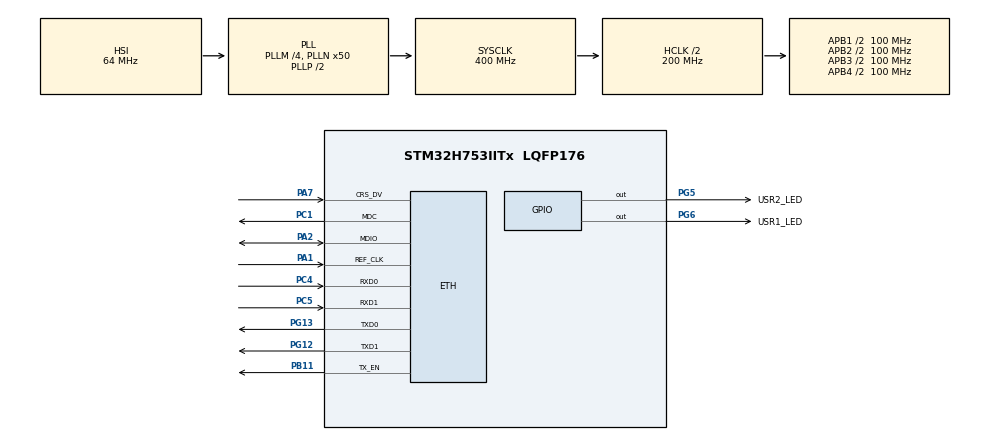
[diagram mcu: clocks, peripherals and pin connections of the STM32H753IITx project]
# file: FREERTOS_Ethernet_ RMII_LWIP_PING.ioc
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CORTEX_M7.AccessPermission_S-Cortex_Memory_Protection_Unit_Region1_Settings_S=MPU_REGION_FULL_ACCESS
CORTEX_M7.AccessPermission_S-Cortex_Memory_Protection_Unit_Region2_Settings_S=MPU_REGION_FULL_ACCESS
CORTEX_M7.AccessPermission_Spec=MPU_REGION_NO_ACCESS
CORTEX_M7.BaseAddress_S-Cortex_Memory_Protection_Unit_Region1_Settings_S=0x30020000
CORTEX_M7.BaseAddress_S-Cortex_Memory_Protection_Unit_Region2_Settings_S=0x30040000
CORTEX_M7.BaseAddress_Spec=0x0
CORTEX_M7.CPU_DCache=Enabled
CORTEX_M7.CPU_ICache=Enabled
CORTEX_M7.DisableExec_S-Cortex_Memory_Protection_Unit_Region1_Settings_S=MPU_INSTRUCTION_ACCESS_DISABLE
CORTEX_M7.DisableExec_S-Cortex_Memory_Protection_Unit_Region2_Settings_S=MPU_INSTRUCTION_ACCESS_DISABLE
CORTEX_M7.Enable_S-Cortex_Memory_Protection_Unit_Region1_Settings_S=MPU_REGION_ENABLE
CORTEX_M7.Enable_S-Cortex_Memory_Protection_Unit_Region2_Settings_S=MPU_REGION_ENABLE
CORTEX_M7.IsBufferable_S-Cortex_Memory_Protection_Unit_Region2_Settings_S=MPU_ACCESS_BUFFERABLE
CORTEX_M7.IsShareable_S-Cortex_Memory_Protection_Unit_Region2_Settings_S=MPU_ACCESS_SHAREABLE
CORTEX_M7.Size_S-Cortex_Memory_Protection_Unit_Region1_Settings_S=MPU_REGION_SIZE_128KB
CORTEX_M7.Size_S-Cortex_Memory_Protection_Unit_Region2_Settings_S=MPU_REGION_SIZE_512B
CORTEX_M7.Size_Spec=MPU_REGION_SIZE_4GB
CORTEX_M7.SubRegionDisable_Spec=0x87
CORTEX_M7.TypeExtField_S-Cortex_Memory_Protection_Unit_Region1_Settings_S=MPU_TEX_LEVEL1
CORTEX_M7.TypeExtField_Spec=MPU_TEX_LEVEL0
CORTEX_M7.default_mode_Activation=1
ETH.MediaInterface=HAL_ETH_RMII_MODE
FREERTOS.Tasks01=defaultTask,24,256,StartDefaultTask,Default,NULL,Dynamic,NULL,NULL
FREERTOS.configCHECK_FOR_STACK_OVERFLOW=2
FREERTOS.configTOTAL_HEAP_SIZE=65536
FREERTOS.configUSE_NEWLIB_REENTRANT=1
LWIP.BSP.number=1
LWIP.GATEWAY_ADDRESS=192.168.000.001
LWIP.IP_ADDRESS=192.168.000.123
LWIP.LWIP_DHCP=0
LWIP.LWIP_DNS=0
LWIP.LWIP_NETIF_EXT_STATUS_CALLBACK=0
LWIP.LWIP_NETIF_LINK_CALLBACK=1
LWIP.LWIP_NETIF_LOOPBACK=0
LWIP.LWIP_NETIF_STATUS_CALLBACK=0
LWIP.LWIP_RAM_HEAP_POINTER=0x30020000
LWIP.MEM_SIZE=16360
LWIP.NETMASK_ADDRESS=255.255.255.000
LWIP.Version=v2.1.2_Cube
LWIP0.BSP.STBoard=false
LWIP0.BSP.api=BSP_COMPONENT_DRIVER
LWIP0.BSP.component=LAN8742
LWIP0.BSP.instance=LAN8742
LWIP0.BSP.name=Driver_PHY
LWIP0.BSP.semaphore=S_LAN8742
LWIP0.BSP.solution=LAN8742
Mcu.Family=STM32H7
Mcu.Name=STM32H753IITx
Mcu.Package=LQFP176
NVIC.ETH_IRQn=true\:5\:0\:false\:false\:true\:true\:true\:true\:true
NVIC.PriorityGroup=NVIC_PRIORITYGROUP_4
NVIC.TIM5_IRQn=true\:15\:0\:false\:false\:true\:false\:false\:true\:true
NVIC.TimeBase=TIM5_IRQn
NVIC.TimeBaseIP=TIM5
PA1.GPIO_Speed=GPIO_SPEED_FREQ_VERY_HIGH
PA1.Mode=RMII
PA1.Signal=ETH_REF_CLK
PA2.GPIO_Speed=GPIO_SPEED_FREQ_VERY_HIGH
PA2.Mode=RMII
PA2.Signal=ETH_MDIO
PA7.GPIO_Speed=GPIO_SPEED_FREQ_VERY_HIGH
PA7.Mode=RMII
PA7.Signal=ETH_CRS_DV
PB11.GPIO_Speed=GPIO_SPEED_FREQ_VERY_HIGH
PB11.Mode=RMII
PB11.Signal=ETH_TX_EN
PC1.GPIO_Speed=GPIO_SPEED_FREQ_VERY_HIGH
PC1.Mode=RMII
PC1.Signal=ETH_MDC
PC4.GPIO_Speed=GPIO_SPEED_FREQ_VERY_HIGH
PC4.Mode=RMII
PC4.Signal=ETH_RXD0
PC5.GPIO_Speed=GPIO_SPEED_FREQ_VERY_HIGH
PC5.Mode=RMII
PC5.Signal=ETH_RXD1
PG12.GPIO_Speed=GPIO_SPEED_FREQ_VERY_HIGH
PG12.Mode=RMII
PG12.Signal=ETH_TXD1
PG13.GPIO_Speed=GPIO_SPEED_FREQ_VERY_HIGH
PG13.Mode=RMII
PG13.Signal=ETH_TXD0
PG5.GPIO_Label=USR2_LED
PG5.Signal=GPIO_Output
PG6.GPIO_Label=USR1_LED
PG6.Signal=GPIO_Output
PH0-OSC_IN\ (PH0).Mode=HSE-External-Clock-Source
PH0-OSC_IN\ (PH0).Signal=RCC_OSC_IN
ProjectManager.HeapSize=0x200
ProjectManager.StackSize=0x400
ProjectManager.TargetToolchain=STM32CubeIDE
RCC.ADCFreq_Value=129000000
RCC.APB1Freq_Value=100000000
RCC.APB2Freq_Value=100000000
RCC.APB3Freq_Value=100000000
RCC.APB4Freq_Value=100000000
RCC.CortexFreq_Value=400000000
RCC.D1PPRE=RCC_APB3_DIV2
RCC.D2PPRE1=RCC_APB1_DIV2
RCC.D2PPRE2=RCC_APB2_DIV2
RCC.D3PPRE=RCC_APB4_DIV2
RCC.DIVM1=4
RCC.DIVN1=50
RCC.HCLKFreq_Value=200000000
RCC.HPRE=RCC_HCLK_DIV2
RCC.PLL2FRACN=0
RCC.PLL3FRACN=0
RCC.PLLFRACN=0
RCC.SYSCLKFreq_VALUE=400000000
RCC.SYSCLKSource=RCC_SYSCLKSOURCE_PLLCLK
RCC.USBFreq_Value=400000000
VP_FREERTOS_VS_CMSIS_V2.Mode=CMSIS_V2
VP_LWIP_VS_Enabled.Mode=Enabled
VP_MEMORYMAP_VS_MEMORYMAP.Mode=CurAppReg
VP_SYS_VS_tim5.Mode=TIM5
board=custom

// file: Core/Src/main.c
/* USER CODE BEGIN Header */
/**
  ******************************************************************************
  * @file           : main.c
  * @brief          : Main program body
  ******************************************************************************
  * @attention
  *
  * Copyright (c) 2026 STMicroelectronics.
  * All rights reserved.
  *
  * This software is licensed under terms that can be found in the LICENSE file
  * in the root directory of this software component.
  * If no LICENSE file comes with this software, it is provided AS-IS.
  *
  ******************************************************************************
  */
/* USER CODE END Header */
#include "main.h"
#include "cmsis_os.h"
#include "lwip.h"

/* USER CODE BEGIN Includes */
#include "lwip/sockets.h"
#include "mqtt_task.h"
#include "json.h"
#include "diag.h"
#include <string.h>
#include <stdio.h>
/* USER CODE END Includes */

/* Definitions for defaultTask */
osThreadId_t defaultTaskHandle;
const osThreadAttr_t defaultTask_attributes = {
  .name = "defaultTask",
  .stack_size = 256 * 4,
  .priority = (osPriority_t) osPriorityNormal,
};
/* USER CODE BEGIN PV */
//osThreadId_t serverHandle;
//const osThreadAttr_t serverTaskAttr = {
//		  .name = "tcpServer",
//		  .stack_size = 768 * 4, // bytes (words × 4)
//		  .priority = osPriorityAboveNormal };
//
//osThreadId_t clientHandle;
//const osThreadAttr_t clientTaskAttr = {
//		  .name = "tcpClient",
//		  .stack_size = 768 * 4,
//		  .priority = osPriorityAboveNormal };
/* USER CODE END PV */

void SystemClock_Config(void);
static void MPU_Config(void);
static void MX_GPIO_Init(void);
void StartDefaultTask(void *argument);

/* USER CODE BEGIN PFP */
void tcp_server_task(void *argument);
void tcp_client_task(void *argument);
/* USER CODE END PFP */

/* USER CODE BEGIN 0 */

/* Handler for the MQTT subscription on "shuttle/wcs".
 * Runs on lwIP's tcpip_thread - must be FAST, no blocking, no slow I/O.
 * Just enqueues the raw bytes to the JSON worker task for parsing. */
static void on_cmd(const char *t, const void *p, size_t n, void *ctx)
{
    (void)t; (void)ctx;
    json_handler_enqueue(p, n);
}

/* USER CODE END 0 */

int main(void)
{

  /* MPU Configuration--------------------------------------------------------*/
  MPU_Config();

  /* Enable the CPU Cache */

  /* Enable I-Cache---------------------------------------------------------*/
  SCB_EnableICache();

  /* Enable D-Cache---------------------------------------------------------*/
  SCB_EnableDCache();

  /* MCU Configuration--------------------------------------------------------*/

  /* Reset of all peripherals, Initializes the Flash interface and the Systick. */
  HAL_Init();

  /* USER CODE BEGIN Init */
  HAL_NVIC_SetPriorityGrouping(NVIC_PRIORITYGROUP_4);
  /* USER CODE END Init */

  /* Configure the system clock */
  SystemClock_Config();

  /* Initialize all configured peripherals */
  MX_GPIO_Init();

  /* Init scheduler */
  osKernelInitialize();

  /* Create the thread(s) */
  /* creation of defaultTask */
  defaultTaskHandle = osThreadNew(StartDefaultTask, NULL, &defaultTask_attributes);

  /* USER CODE BEGIN RTOS_THREADS */
  /* add threads, ... */
  static const mqtt_config_t mqtt_cfg = {
      .broker_ip    = "192.168.0.37",
      .broker_port  = 1883,
      .client_id    = "shuttle_1",
      .keep_alive_s = 60,
      .username     = NULL,
      .password     = NULL,
  };
  mqtt_init(&mqtt_cfg);
  json_handler_init();
  diag_init();

  /* USER CODE END RTOS_THREADS */

  /* Start scheduler */
  osKernelStart();

  /* We should never get here as control is now taken by the scheduler */

  /* Infinite loop */
  while (1)
  {

  }
}

void SystemClock_Config(void)
{
  RCC_OscInitTypeDef RCC_OscInitStruct = {0};
  RCC_ClkInitTypeDef RCC_ClkInitStruct = {0};

  /** Supply configuration update enable
  */
  HAL_PWREx_ConfigSupply(PWR_LDO_SUPPLY);

  /** Configure the main internal regulator output voltage
  */
  __HAL_PWR_VOLTAGESCALING_CONFIG(PWR_REGULATOR_VOLTAGE_SCALE1);

  while(!__HAL_PWR_GET_FLAG(PWR_FLAG_VOSRDY)) {}

  /** Initializes the RCC Oscillators according to the specified parameters
  * in the RCC_OscInitTypeDef structure.
  */
  RCC_OscInitStruct.OscillatorType = RCC_OSCILLATORTYPE_HSI;
  RCC_OscInitStruct.HSIState = RCC_HSI_DIV1;
  RCC_OscInitStruct.HSICalibrationValue = RCC_HSICALIBRATION_DEFAULT;
  RCC_OscInitStruct.PLL.PLLState = RCC_PLL_ON;
  RCC_OscInitStruct.PLL.PLLSource = RCC_PLLSOURCE_HSI;
  RCC_OscInitStruct.PLL.PLLM = 4;
  RCC_OscInitStruct.PLL.PLLN = 50;
  RCC_OscInitStruct.PLL.PLLP = 2;
  RCC_OscInitStruct.PLL.PLLQ = 2;
  RCC_OscInitStruct.PLL.PLLR = 2;
  RCC_OscInitStruct.PLL.PLLRGE = RCC_PLL1VCIRANGE_3;
  RCC_OscInitStruct.PLL.PLLVCOSEL = RCC_PLL1VCOWIDE;
  RCC_OscInitStruct.PLL.PLLFRACN = 0;
  if (HAL_RCC_OscConfig(&RCC_OscInitStruct) != HAL_OK)
  {
    Error_Handler();
  }

  /** Initializes the CPU, AHB and APB buses clocks
  */
  RCC_ClkInitStruct.ClockType = RCC_CLOCKTYPE_HCLK|RCC_CLOCKTYPE_SYSCLK
                              |RCC_CLOCKTYPE_PCLK1|RCC_CLOCKTYPE_PCLK2
                              |RCC_CLOCKTYPE_D3PCLK1|RCC_CLOCKTYPE_D1PCLK1;
  RCC_ClkInitStruct.SYSCLKSource = RCC_SYSCLKSOURCE_PLLCLK;
  RCC_ClkInitStruct.SYSCLKDivider = RCC_SYSCLK_DIV1;
  RCC_ClkInitStruct.AHBCLKDivider = RCC_HCLK_DIV2;
  RCC_ClkInitStruct.APB3CLKDivider = RCC_APB3_DIV2;
  RCC_ClkInitStruct.APB1CLKDivider = RCC_APB1_DIV2;
  RCC_ClkInitStruct.APB2CLKDivider = RCC_APB2_DIV2;
  RCC_ClkInitStruct.APB4CLKDivider = RCC_APB4_DIV2;

  if (HAL_RCC_ClockConfig(&RCC_ClkInitStruct, FLASH_LATENCY_2) != HAL_OK)
  {
    Error_Handler();
  }
}

static void MX_GPIO_Init(void)
{
  GPIO_InitTypeDef GPIO_InitStruct = {0};

  /* GPIO Ports Clock Enable */
  __HAL_RCC_GPIOH_CLK_ENABLE();
  __HAL_RCC_GPIOC_CLK_ENABLE();
  __HAL_RCC_GPIOA_CLK_ENABLE();
  __HAL_RCC_GPIOB_CLK_ENABLE();
  __HAL_RCC_GPIOG_CLK_ENABLE();

  /*Configure GPIO pin Output Level */
  HAL_GPIO_WritePin(GPIOG, USR2_LED_Pin|USR1_LED_Pin, GPIO_PIN_RESET);

  /*Configure GPIO pins : USR2_LED_Pin USR1_LED_Pin */
  GPIO_InitStruct.Pin = USR2_LED_Pin|USR1_LED_Pin;
  GPIO_InitStruct.Mode = GPIO_MODE_OUTPUT_PP;
  GPIO_InitStruct.Pull = GPIO_NOPULL;
  GPIO_InitStruct.Speed = GPIO_SPEED_FREQ_LOW;
  HAL_GPIO_Init(GPIOG, &GPIO_InitStruct);

}

/* USER CODE BEGIN 4 */
//void tcp_server_task(void *argument)
//{
//
//    int sock, client;
//    struct sockaddr_in server_addr, client_addr;
//    char rx_buffer[128];
//    socklen_t addr_len;
//    int len;
//
//    sock = socket(AF_INET, SOCK_STREAM, IPPROTO_IP);
//    if(sock < 0)
//        vTaskDelete(NULL);
//
//    server_addr.sin_family = AF_INET;
//    server_addr.sin_port = htons(5000);
//    server_addr.sin_addr.s_addr = INADDR_ANY;
//
//    bind(sock, (struct sockaddr *)&server_addr, sizeof(server_addr));
//    listen(sock, 1);
//
//    while(1)
//    {
//        addr_len = sizeof(client_addr);
//
//        client = accept(sock, (struct sockaddr *)&client_addr, &addr_len);
//
//        if(client >= 0)
//        {
//            while((len = recv(client, rx_buffer, sizeof(rx_buffer) - 1, 0)) > 0)
//            {
//                rx_buffer[len] = '\0';   // Null terminate
//
//                /* ---- COMMAND PARSING ---- */
//
//                if(strstr(rx_buffer, "LED ON"))
//                {
//                    HAL_GPIO_WritePin(USR1_LED_GPIO_Port, USR1_LED_Pin, GPIO_PIN_RESET);
//
//                    char reply[] = "\nLED turned ON\r\n";
//                    send(client, reply, strlen(reply), 0);
//                }
//                else if(strstr(rx_buffer, "LED OFF"))
//                {
//                    HAL_GPIO_WritePin(USR1_LED_GPIO_Port, USR1_LED_Pin, GPIO_PIN_SET);
//
//                    char reply[] = "\nLED turned OFF\r\n";
//                    send(client, reply, strlen(reply), 0);
//                }
//                else
//                {
//                    char reply[] = "\nUnknown Command\r\n";
//                    send(client, reply, strlen(reply), 0);
//                }
//            }
//
//            closesocket(client);
//        }
//    }
//
//
//
////    int sock, client;
////    struct sockaddr_in server_addr, client_addr;
////    char rx_buffer[128];
////    socklen_t addr_len;
////    int len;
////
////    sock = socket(AF_INET, SOCK_STREAM, IPPROTO_IP);
////
////    if(sock < 0)
////        vTaskDelete(NULL);
////
////    server_addr.sin_family = AF_INET;
////    server_addr.sin_port = htons(5000);
////    server_addr.sin_addr.s_addr = INADDR_ANY;
////
////    bind(sock, (struct sockaddr *)&server_addr, sizeof(server_addr));
////    listen(sock, 1);
////
////    while(1)
////    {
////        client = accept(sock, (struct sockaddr *)&client_addr, &addr_len);
////
////        if(client >= 0)
////        {
////            HAL_GPIO_WritePin(USR1_LED_GPIO_Port, USR1_LED_Pin, GPIO_PIN_RESET);
////
////            while((len = recv(client, rx_buffer, sizeof(rx_buffer), 0)) > 0)
////            {
////                send(client, rx_buffer, len, 0);
////            }
////
////            HAL_GPIO_WritePin(USR1_LED_GPIO_Port, USR1_LED_Pin, GPIO_PIN_SET);
////            closesocket(client);
////        }
////}
//
//}
//void tcp_client_task(void *argument)
//{
//    int sock;
//    struct sockaddr_in server_addr;
//    char msg[] = "Hello from STM32H7\r\n";
//
//    while(1)
//    {
//        sock = socket(AF_INET, SOCK_STREAM, IPPROTO_IP);
//
//        if(sock < 0)
//        {
//            osDelay(2000);
//            continue;
//        }
//
//        server_addr.sin_family = AF_INET;
//        server_addr.sin_port = htons(6000);
//
//        /* CHANGE to your PC/server IP */
//        server_addr.sin_addr.s_addr = inet_addr("192.168.0.124");
//
//        if(connect(sock, (struct sockaddr *)&server_addr, sizeof(server_addr)) == 0)
//        {
//            /* Connected → LED ON (active LOW) */
//        	HAL_GPIO_WritePin(USR2_LED_GPIO_Port, USR2_LED_Pin, GPIO_PIN_RESET);
//
//            send(sock, msg, strlen(msg), 0);
//
//            closesocket(sock);
//            vTaskDelay(pdMS_TO_TICKS(200));
//            /* Disconnect → LED OFF */
//            HAL_GPIO_WritePin(USR2_LED_GPIO_Port, USR2_LED_Pin, GPIO_PIN_SET);
//        }
//        else
//        {
//            /* Connection failed -> LED OFF.
//             * BUG FIX: the socket was allocated by socket() above. If we
//             * don't closesocket() here, the underlying TCP PCB leaks.
//             * Every 3 s of failed connect leaks one MEMP_NUM_TCP_PCB slot,
//             * which eventually causes MQTT (and any other TCP user) to get
//             * ERR_MEM on reconnect (status=201). */
//        	HAL_GPIO_WritePin(USR2_LED_GPIO_Port, USR2_LED_Pin, GPIO_PIN_SET);
//        	closesocket(sock);
//        }
//
//        osDelay(3000);
//    }
//}
/* USER CODE END 4 */

void StartDefaultTask(void *argument)
{
  /* init code for LWIP */
	osDelay(pdMS_TO_TICKS(1000));
  MX_LWIP_Init();
  /* USER CODE BEGIN 5 */
//  serverHandle = osThreadNew(tcp_server_task, NULL, &serverTaskAttr);
//
// if(serverHandle == NULL)
// {
//     Error_Handler();
// }
//
// clientHandle = osThreadNew(tcp_client_task, NULL, &clientTaskAttr);
//
// if(clientHandle == NULL)
// {
//     Error_Handler();
// }

 /* Register the test subscription. Done once, on a task (so the mutex
  * inside mqtt_subscribe is safe to use). The registration is kept in
  * our subscription table; the mqtt_task will replay it to the broker
  * automatically on every connect, including after a cable cycle. */
 mqtt_app_subscribe("shuttle/shuttle1/wcs", 1, on_cmd, NULL);

  /* Infinite loop */
  for(;;)
  {
    osDelay(5000);   // let MQTT connect first
mqtt_app_publish_string("shuttle/shuttle1/telemetry", "This is shuttle 1!!!");
  }
  /* USER CODE END 5 */
}

 /* MPU Configuration */

void MPU_Config(void)
{
  MPU_Region_InitTypeDef MPU_InitStruct = {0};

  /* Disables the MPU */
  HAL_MPU_Disable();

  /** Initializes and configures the Region and the memory to be protected
  */
  MPU_InitStruct.Enable = MPU_REGION_ENABLE;
  MPU_InitStruct.Number = MPU_REGION_NUMBER0;
  MPU_InitStruct.BaseAddress = 0x0;
  MPU_InitStruct.Size = MPU_REGION_SIZE_4GB;
  MPU_InitStruct.SubRegionDisable = 0x87;
  MPU_InitStruct.TypeExtField = MPU_TEX_LEVEL0;
  MPU_InitStruct.AccessPermission = MPU_REGION_NO_ACCESS;
  MPU_InitStruct.DisableExec = MPU_INSTRUCTION_ACCESS_DISABLE;
  MPU_InitStruct.IsShareable = MPU_ACCESS_SHAREABLE;
  MPU_InitStruct.IsCacheable = MPU_ACCESS_NOT_CACHEABLE;
  MPU_InitStruct.IsBufferable = MPU_ACCESS_NOT_BUFFERABLE;

  HAL_MPU_ConfigRegion(&MPU_InitStruct);

  /** Initializes and configures the Region and the memory to be protected
  */
  MPU_InitStruct.Number = MPU_REGION_NUMBER1;
  MPU_InitStruct.BaseAddress = 0x30020000;
  MPU_InitStruct.Size = MPU_REGION_SIZE_128KB;
  MPU_InitStruct.SubRegionDisable = 0x0;
  MPU_InitStruct.TypeExtField = MPU_TEX_LEVEL1;
  MPU_InitStruct.AccessPermission = MPU_REGION_FULL_ACCESS;
  MPU_InitStruct.IsShareable = MPU_ACCESS_NOT_SHAREABLE;

  HAL_MPU_ConfigRegion(&MPU_InitStruct);

  /** Initializes and configures the Region and the memory to be protected
  */
  MPU_InitStruct.Number = MPU_REGION_NUMBER2;
  MPU_InitStruct.BaseAddress = 0x30040000;
  MPU_InitStruct.Size = MPU_REGION_SIZE_512B;
  MPU_InitStruct.TypeExtField = MPU_TEX_LEVEL0;
  MPU_InitStruct.IsShareable = MPU_ACCESS_SHAREABLE;
  MPU_InitStruct.IsBufferable = MPU_ACCESS_BUFFERABLE;

  HAL_MPU_ConfigRegion(&MPU_InitStruct);
  /* Enables the MPU */
  HAL_MPU_Enable(MPU_PRIVILEGED_DEFAULT);

}

void HAL_TIM_PeriodElapsedCallback(TIM_HandleTypeDef *htim)
{
  if (htim->Instance == TIM5)
  {
    HAL_IncTick();
  }
}

void Error_Handler(void)
{
  __disable_irq();
  while (1)
  {
  }
}
